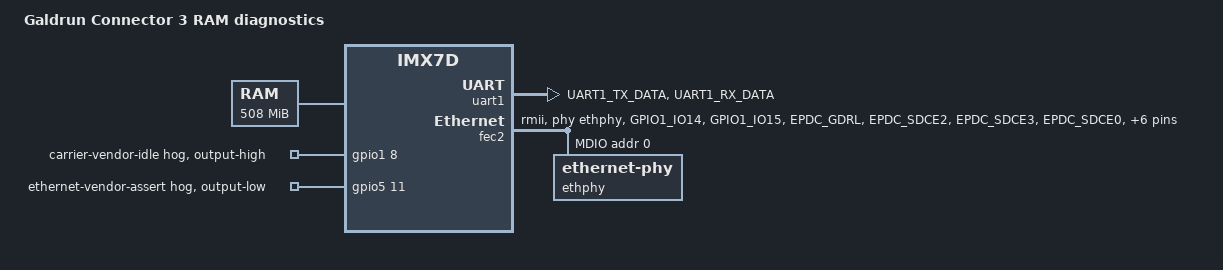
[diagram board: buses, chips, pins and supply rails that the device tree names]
// SPDX-License-Identifier: GPL-2.0-only
/dts-v1/;
#include "imx7d.dtsi"

/* Ethernet/UART wiring checked against Teufel's published S810 board source.
 * Storage, audio, Wi-Fi and PMIC programming are deliberately absent. */
/ {
    model = "Galdrun Connector 3 RAM diagnostics";
    compatible = "fsl,imx7d-teufel-streamer", "fsl,imx7d";
    aliases { ethernet0 = &fec2; };
    chosen { stdout-path = "serial0:115200n8"; };
    memory@80000000 {
        device_type = "memory";
        reg = <0x80000000 0x1fc00000>;
    };
};

&cpu1 { status = "disabled"; };

/* The vendor disables CAAM; probing it faults before userspace starts. */
&crypto { status = "disabled"; };

/* Match the GPIO levels verified with Ethernet on the RAM client. */
&gpio1 {
    carrier-idle {
        gpio-hog;
        gpios = <8 GPIO_ACTIVE_HIGH>;
        output-high;
        line-name = "carrier-vendor-idle";
    };
};

&gpio5 {
    ethernet-assert {
        gpio-hog;
        gpios = <11 GPIO_ACTIVE_HIGH>;
        output-low;
        line-name = "ethernet-vendor-assert";
    };
};

&uart1 {
    pinctrl-names = "default";
    pinctrl-0 = <&pinctrl_uart1>;
    assigned-clocks = <&clks IMX7D_UART1_ROOT_SRC>;
    assigned-clock-parents = <&clks IMX7D_OSC_24M_CLK>;
    status = "okay";
};

&fec2 {
    pinctrl-names = "default";
    pinctrl-0 = <&pinctrl_enet2>;
    clocks = <&clks IMX7D_ENET2_IPG_ROOT_CLK>,
             <&clks IMX7D_ENET_AXI_ROOT_CLK>,
             <&clks IMX7D_ENET2_TIME_ROOT_CLK>,
             <&clks IMX7D_PLL_ENET_MAIN_125M_CLK>,
             <&clks IMX7D_ENET2_REF_ROOT_DIV>;
    assigned-clocks = <&clks IMX7D_ENET2_TIME_ROOT_SRC>,
                      <&clks IMX7D_ENET2_TIME_ROOT_CLK>,
                      <&clks IMX7D_ENET2_REF_ROOT_SRC>,
                      <&clks IMX7D_ENET2_REF_ROOT_DIV>;
    assigned-clock-parents = <&clks IMX7D_PLL_ENET_MAIN_100M_CLK>, <0>,
                            <&clks IMX7D_PLL_ENET_MAIN_50M_CLK>, <0>;
    assigned-clock-rates = <0>, <100000000>, <0>, <50000000>;
    phy-mode = "rmii";
    phy-handle = <&ethphy>;
    status = "okay";
    mdio {
        #address-cells = <1>;
        #size-cells = <0>;
        reset-gpios = <&gpio4 22 GPIO_ACTIVE_LOW>;
        reset-delay-us = <10000>;
        reset-post-delay-us = <30000>;
        /* Preserve this name for the factory U-Boot PHY-address fixup. */
        ethphy: ethernet-phy@0 { reg = <0>; };
    };
};

&iomuxc {
    pinctrl_uart1: uart1grp {
        fsl,pins = <
            MX7D_PAD_UART1_TX_DATA__UART1_DCE_TX 0x79
            MX7D_PAD_UART1_RX_DATA__UART1_DCE_RX 0x79
        >;
    };
    pinctrl_enet2: enet2grp {
        fsl,pins = <
            MX7D_PAD_GPIO1_IO14__ENET2_MDIO 0x03
            MX7D_PAD_GPIO1_IO15__ENET2_MDC 0x03
            MX7D_PAD_EPDC_GDRL__ENET2_RGMII_TX_CTL 0x01
            MX7D_PAD_EPDC_SDCE2__ENET2_RGMII_TD0 0x01
            MX7D_PAD_EPDC_SDCE3__ENET2_RGMII_TD1 0x01
            MX7D_PAD_EPDC_SDCE0__ENET2_RGMII_RX_CTL 0x01
            MX7D_PAD_EPDC_SDCLK__ENET2_RGMII_RD0 0x01
            MX7D_PAD_EPDC_SDLE__ENET2_RGMII_RD1 0x01
            MX7D_PAD_EPDC_SDCE1__ENET2_RX_ER 0x01
            MX7D_PAD_EPDC_BDR0__CCM_ENET_REF_CLK2 0x40000001
            MX7D_PAD_SD2_RESET_B__GPIO5_IO11 0x80000000
            MX7D_PAD_ECSPI2_MISO__GPIO4_IO22 0x80000000
        >;
    };
};
